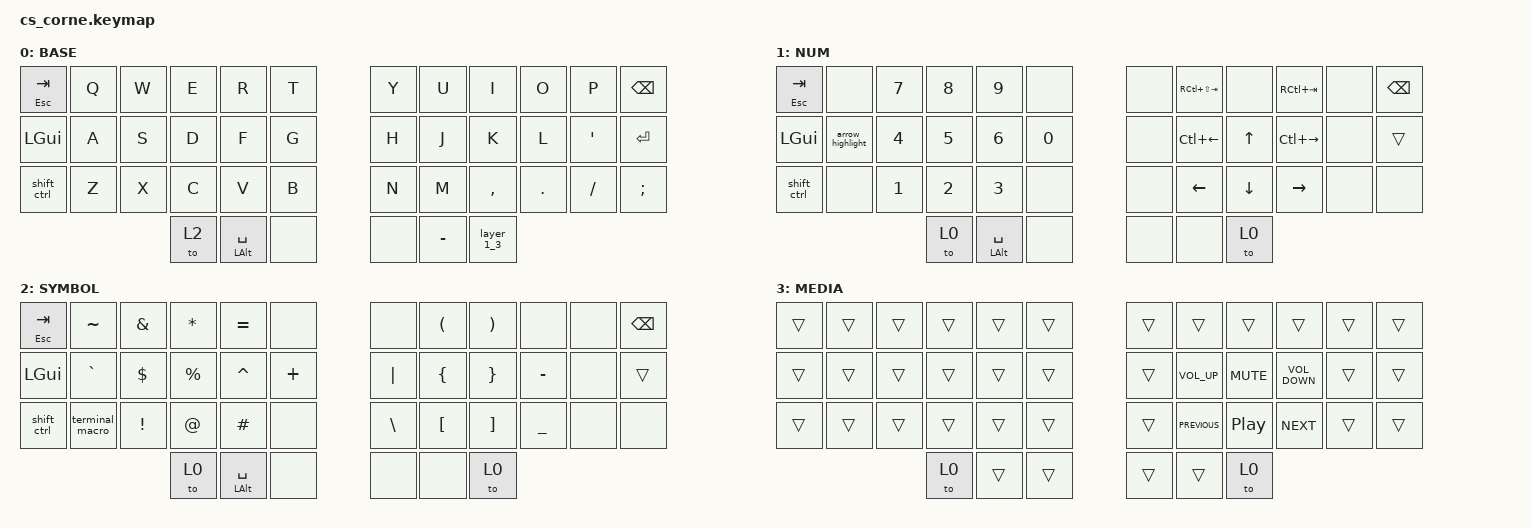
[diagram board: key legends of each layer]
/*
 * Copyright (c) 2020 The ZMK Contributors
 *
 * SPDX-License-Identifier: MIT
 */

#include <behaviors.dtsi>
#include <dt-bindings/zmk/keys.h>

/ {
    combos {
        compatible = "zmk,combos";

        del {
            bindings = <&kp DELETE>;
            key-positions = <11 6>;
        };
    };

    behaviors {
        gpt: gpt {
            compatible = "zmk,behavior-hold-tap";
            label = "GLOBAL_QUICK_TAP";
            bindings = <&kp>, <&kp>;

            #binding-cells = <2>;
            flavor = "tap-preferred";
            quick-tap-ms = <125>;
            tapping-term-ms = <200>;
        };

        layer_1_3: layer_1_3 {
            compatible = "zmk,behavior-tap-dance";
            label = "LAYER_1_3";
            #binding-cells = <0>;
            bindings = <&to 1>, <&to 3>;
        };

        shift_ctrl: shift_ctrl {
            compatible = "zmk,behavior-tap-dance";
            label = "SHIFT_CTRL";
            #binding-cells = <0>;
            bindings = <&kp LEFT_SHIFT>, <&kp LEFT_CONTROL>;
        };
    };

    macros {
        terminal_macro: terminal_macro {
            compatible = "zmk,behavior-macro";
            #binding-cells = <0>;
            bindings = <&kp LEFT_CONTROL &kp GRAVE>;
            label = "TERMINAL_MACRO";
        };

        arrow_highlight: arrow_highlight {
            compatible = "zmk,behavior-macro";
            #binding-cells = <0>;
            bindings = <&kp LEFT_ALT &kp LEFT_SHIFT>;
            label = "ARROW_HIGHLIGHT";
        };

        chrome_next_tab: chrome_next_tab {
            compatible = "zmk,behavior-macro";
            #binding-cells = <0>;
            bindings = <&kp LEFT_CONTROL &kp TAB>;
            label = "CHROME_NEXT_TAB";
        };

        chrome_prev_tab: chrome_prev_tab {
            compatible = "zmk,behavior-macro";
            #binding-cells = <0>;
            bindings = <&kp LEFT_CONTROL &kp LEFT_SHIFT &kp TAB>;
            label = "CHROME_PREV_TAB";
        };
    };

    keymap {
        compatible = "zmk,keymap";

        BASE {
            // -----------------------------------------------------------------------------------------
            // |  TAB |  Q  |  W  |  E  |  R  |  T  |   |  Y  |  U   |  I  |  O  |  P  | BKSP |
            // | CTRL |  A  |  S  |  D  |  F  |  G  |   |  H  |  J   |  K  |  L  |  ;  |  '   |
            // | SHFT |  Z  |  X  |  C  |  V  |  B  |   |  N  |  M   |  ,  |  .  |  /  | ESC  |
            //                    | GUI | LWR | SPC |   | ENT | RSE  | ALT |

            display-name = "BASE";
            bindings = <
&mt ESCAPE TAB  &kp Q  &kp W  &kp E  &kp R               &kp T    &kp Y  &kp U      &kp I       &kp O    &kp P     &kp BSPC
&kp LGUI        &kp A  &kp S  &kp D  &kp F               &kp G    &kp H  &kp J      &kp K       &kp L    &kp APOS  &kp ENTER
&shift_ctrl     &kp Z  &kp X  &kp C  &kp V               &kp B    &kp N  &kp M      &kp COMMA   &kp DOT  &kp FSLH  &kp SEMI
                              &to 2  &mt LEFT_ALT SPACE  &none    &none  &kp MINUS  &layer_1_3
            >;
        };

        NUM {
            // -----------------------------------------------------------------------------------------
            // |  TAB |  1  |  2  |  3  |  4  |  5  |   |  6  |  7  |  8  |  9  |  0  | BKSP |
            // | BTCLR| BT1 | BT2 | BT3 | BT4 | BT5 |   | LFT | DWN |  UP | RGT |     |      |
            // | SHFT |     |     |     |     |     |   |     |     |     |     |     |      |
            //                    | GUI |     | SPC |   | ENT |     | ALT |

            display-name = "NUM";
            bindings = <
&mt ESCAPE TAB  &none             &kp N7        &kp N8  &kp N9              &none     &none  &kp RC(LS(TAB))  &none           &kp RC(TAB)    &none  &kp BSPC
&kp LGUI        &arrow_highlight  &kp NUMBER_4  &kp N5  &kp NUMBER_6        &kp N0    &none  &kp LC(LEFT)     &kp UP          &kp LC(RIGHT)  &none  &trans
&shift_ctrl     &none             &kp N1        &kp N2  &kp N3              &none     &none  &kp LEFT         &kp DOWN_ARROW  &kp RIGHT      &none  &none
                                                &to 0   &mt LEFT_ALT SPACE  &none     &none  &none            &to 0
            >;
        };

        SYMBOL {
            // -----------------------------------------------------------------------------------------
            // |  TAB |  !  |  @  |  #  |  $  |  %  |   |  ^  |  &  |  *  |  (  |  )  | BKSP |
            // | CTRL |     |     |     |     |     |   |  -  |  =  |  [  |  ]  |  \  |  `   |
            // | SHFT |     |     |     |     |     |   |  _  |  +  |  {  |  }  | "|" |  ~   |
            //                    | GUI |     | SPC |   | ENT |     | ALT |

            display-name = "SYMBOL";
            bindings = <
&mt ESCAPE TAB  &kp TILDE        &kp AMPERSAND  &kp ASTRK    &kp EQUAL           &none       &none     &kp LEFT_PARENTHESIS  &kp RIGHT_PARENTHESIS  &none      &none  &kp BSPC
&kp LGUI        &kp GRAVE        &kp DOLLAR     &kp PERCENT  &kp CARET           &kp PLUS    &kp PIPE  &kp LEFT_BRACE        &kp RIGHT_BRACE        &kp MINUS  &none  &trans
&shift_ctrl     &terminal_macro  &kp EXCL       &kp AT       &kp HASH            &none       &kp BSLH  &kp LEFT_BRACKET      &kp RIGHT_BRACKET      &kp UNDER  &none  &none
                                                &to 0        &mt LEFT_ALT SPACE  &none       &none     &none                 &to 0
            >;
        };

        MEDIA {
            bindings = <
&trans  &trans  &trans  &trans  &trans  &trans    &trans  &trans           &trans            &trans             &trans  &trans
&trans  &trans  &trans  &trans  &trans  &trans    &trans  &kp C_VOLUME_UP  &kp K_MUTE        &kp C_VOLUME_DOWN  &trans  &trans
&trans  &trans  &trans  &trans  &trans  &trans    &trans  &kp C_PREVIOUS   &kp C_PLAY_PAUSE  &kp C_NEXT         &trans  &trans
                        &to 0   &trans  &trans    &trans  &trans           &to 0
            >;
        };
    };
};
